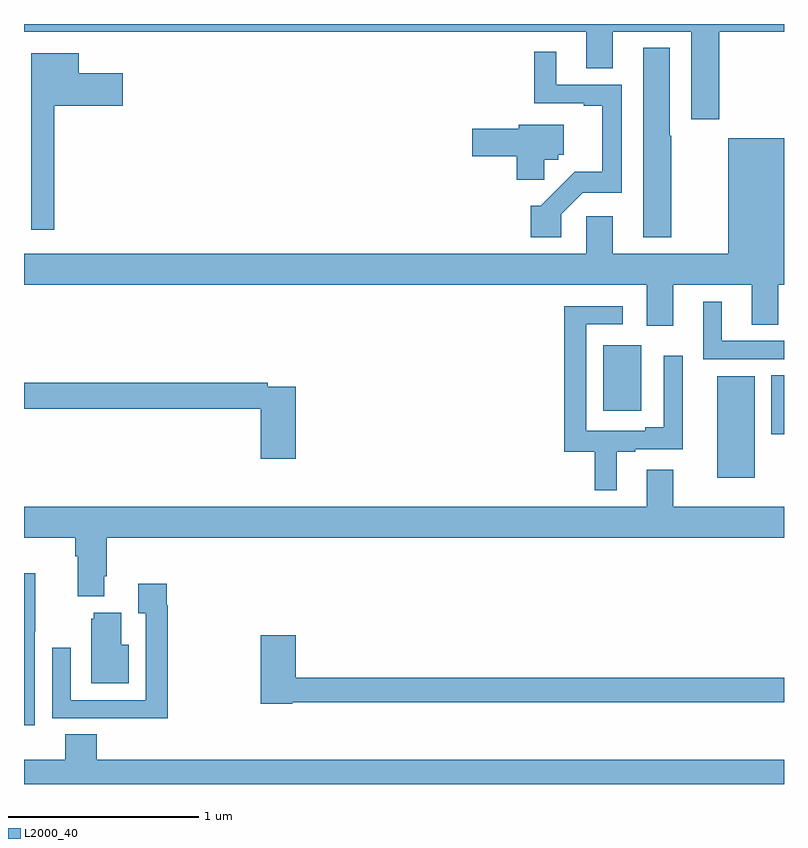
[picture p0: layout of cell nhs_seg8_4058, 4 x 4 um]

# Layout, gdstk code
import gdstk
lib = gdstk.Library(unit=1e-6, precision=1e-09)
def R(c, l, rs):  # rectangles x0, y0, x1, y1
    for r in rs: c.add(gdstk.rectangle(r[:2], r[2:], *l))
def P(c, l, *ps):  # polygons
    for p in ps: c.add(gdstk.Polygon(p, *l))
L2000_40 = (2000, 40)

nhs_seg8_4058 = lib.new_cell('nhs_seg8_4058')
R(nhs_seg8_4058, L2000_40, [(364.649,1087.511,364.846,1088.047), (364.934,1087.74,365,1088.051), (364.049,1087.865,364.249,1088.209)])
P(nhs_seg8_4058, L2000_40, [(364.659,1089.86),(365,1089.86),(365,1089.9),(361,1089.9),(361,1089.86),(363.959,1089.86),(363.959,1089.666),(364.099,1089.666),(364.099,1089.86),(364.511,1089.86),(364.511,1089.399),(364.659,1089.399)],
  [(364.407,1089.311),(364.399,1089.311),(364.399,1089.775),(364.259,1089.775),(364.259,1088.777),(364.407,1088.777)],
  [(363.828,1088.898),(363.942,1089.012),(364.147,1089.012),(364.147,1089.579),(363.802,1089.579),(363.802,1089.754),(363.685,1089.754),(363.685,1089.483),(363.947,1089.483),(363.947,1089.471),(364.043,1089.471),(364.043,1089.122),(363.899,1089.122),(363.721,1088.944),(363.668,1088.944),(363.668,1088.778),(363.828,1088.778)],
  [(361.159,1089.47),(361.519,1089.47),(361.519,1089.64),(361.288,1089.64),(361.288,1089.745),(361.037,1089.745),(361.037,1088.817),(361.159,1088.817)],
  [(363.737,1089.186),(363.813,1089.186),(363.813,1089.213),(363.841,1089.213),(363.841,1089.37),(363.605,1089.37),(363.605,1089.35),(363.36,1089.35),(363.36,1089.203),(363.593,1089.203),(363.593,1089.081),(363.737,1089.081)],
  [(364.099,1088.887),(363.96,1088.887),(363.96,1088.692),(361,1088.692),(361,1088.528),(364.277,1088.528),(364.277,1088.313),(364.417,1088.313),(364.417,1088.528),(364.829,1088.528),(364.829,1088.317),(364.969,1088.317),(364.969,1088.528),(365,1088.528),(365,1089.298),(364.706,1089.298),(364.706,1088.692),(364.099,1088.692)],
  [(365,1088.232),(364.672,1088.232),(364.672,1088.437),(364.574,1088.437),(364.574,1088.136),(365,1088.136)],
  [(364.12,1087.65),(364.216,1087.65),(364.216,1087.662),(364.466,1087.662),(364.466,1088.155),(364.368,1088.155),(364.368,1087.778),(364.271,1087.778),(364.271,1087.758),(363.96,1087.758),(363.96,1088.319),(364.15,1088.319),(364.15,1088.415),(363.844,1088.415),(363.844,1087.65),(364.003,1087.65),(364.003,1087.445),(364.12,1087.445)],
  [(362.429,1087.992),(362.282,1087.992),(362.282,1088.012),(361,1088.012),(361,1087.876),(362.246,1087.876),(362.246,1087.611),(362.429,1087.611)],
  [(361.423,1086.994),(361.436,1086.994),(361.436,1087.196),(365,1087.196),(365,1087.36),(364.417,1087.36),(364.417,1087.555),(364.277,1087.555),(364.277,1087.36),(361,1087.36),(361,1087.196),(361.271,1087.196),(361.271,1087.1),(361.283,1087.1),(361.283,1086.887),(361.423,1086.887)],
  [(361.056,1086.703),(361.059,1086.703),(361.059,1087.01),(361,1087.01),(361,1086.21),(361.056,1086.21)],
  [(361.757,1086.842),(361.75,1086.842),(361.75,1086.955),(361.601,1086.955),(361.601,1086.799),(361.641,1086.799),(361.641,1086.342),(361.245,1086.342),(361.245,1086.616),(361.149,1086.616),(361.149,1086.246),(361.465,1086.246),(361.465,1086.245),(361.757,1086.245)],
  [(361.552,1086.634),(361.513,1086.634),(361.513,1086.802),(361.367,1086.802),(361.367,1086.771),(361.355,1086.771),(361.355,1086.431),(361.552,1086.431)],
  [(362.412,1086.33),(365,1086.33),(365,1086.458),(362.429,1086.458),(362.429,1086.682),(362.246,1086.682),(362.246,1086.322),(362.412,1086.322)],
  [(365,1086.028),(361.382,1086.028),(361.382,1086.161),(361.217,1086.161),(361.217,1086.028),(361,1086.028),(361,1085.9),(365,1085.9)])

lib.write_gds('nhs_seg8_4058.gds')
